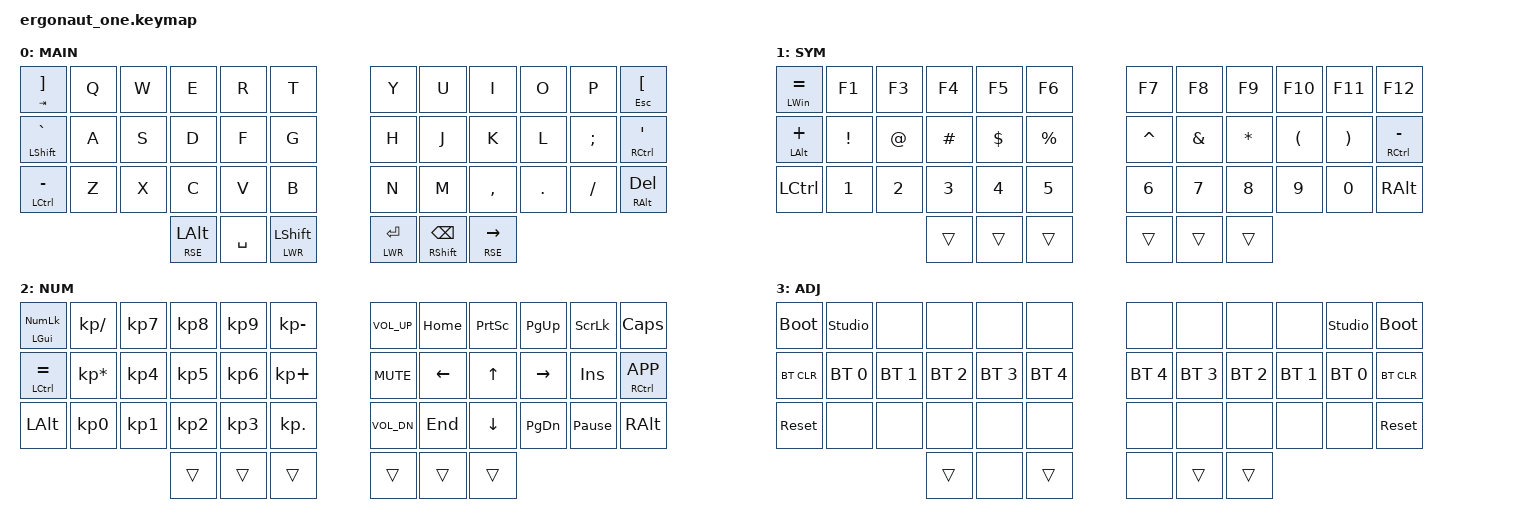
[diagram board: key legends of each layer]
#include <behaviors.dtsi>
#include <dt-bindings/zmk/bt.h>
#include <dt-bindings/zmk/keys.h>

#define DEF 0
#define LWR 1
#define RSE 2
#define ADJ 3

&lt { quick-tap-ms = <200>; };

&mt { quick-tap-ms = <200>; };

/ {
    conditional_layers {
        compatible = "zmk,conditional-layers";

        tri-layer {
            if-layers = <LWR RSE>;
            then-layer = <ADJ>;
        };
    };

    combos {
        compatible = "zmk,combos";

        hash {
            bindings = <&kp HASH>;
            key-positions = <36 37>;
        };
    };

    keymap {
        compatible = "zmk,keymap";

        default_layer {
            display-name = "MAIN";
            bindings = <
&mt TAB RBKT          &kp Q  &kp W  &kp E             &kp R      &kp T               &kp Y          &kp U                &kp I          &kp O    &kp P     &mt ESCAPE LEFT_BRACKET
&mt LEFT_SHIFT GRAVE  &kp A  &kp S  &kp D             &kp F      &kp G               &kp H          &kp J                &kp K          &kp L    &kp SEMI  &mt RCTRL SQT
&mt LCTRL MINUS       &kp Z  &kp X  &kp C             &kp V      &kp B               &kp N          &kp M                &kp COMMA      &kp DOT  &kp FSLH  &mt RALT DELETE
                                    &lt RSE LEFT_ALT  &kp SPACE  &lt LWR LEFT_SHIFT  &lt LWR ENTER  &mt RSHFT BACKSPACE  &lt RSE RIGHT
            >;
        };

        lower_layer {
            display-name = "SYM";
            bindings = <
&mt LEFT_WIN EQUAL  &kp F1    &kp F3  &kp F4    &kp F5    &kp F6     &kp F7     &kp F8    &kp F9    &kp F10   &kp F11   &kp F12
&mt LEFT_ALT PLUS   &kp EXCL  &kp AT  &kp HASH  &kp DLLR  &kp PRCNT  &kp CARET  &kp AMPS  &kp STAR  &kp LPAR  &kp RPAR  &mt RCTRL MINUS
&kp LEFT_CONTROL    &kp N1    &kp N2  &kp N3    &kp N4    &kp N5     &kp N6     &kp N7    &kp N8    &kp N9    &kp N0    &kp RALT
                                      &trans    &trans    &trans     &trans     &trans    &trans
            >;
        };

        raise_layer {
            display-name = "NUM";
            bindings = <
&mt LGUI KP_NUM  &kp KP_SLASH     &kp KP_N7  &kp KP_N8  &kp KP_N9  &kp KP_MINUS  &kp C_VOL_UP  &kp HOME  &kp PSCRN  &kp PG_UP  &kp SLCK         &kp CLCK
&mt LCTRL EQUAL  &kp KP_MULTIPLY  &kp KP_N4  &kp KP_N5  &kp KP_N6  &kp KP_PLUS   &kp C_MUTE    &kp LEFT  &kp UP     &kp RIGHT  &kp INS          &mt RCTRL K_APP
&kp LALT         &kp KP_N0        &kp KP_N1  &kp KP_N2  &kp KP_N3  &kp KP_DOT    &kp C_VOL_DN  &kp END   &kp DOWN   &kp PG_DN  &kp PAUSE_BREAK  &kp RALT
                                             &trans     &trans     &trans        &trans        &trans    &trans
            >;
        };

        adjust_layer {
            display-name = "ADJ";
            bindings = <
&bootloader  &studio_unlock  &none         &none         &none         &none         &none         &none         &none         &none         &studio_unlock  &bootloader
&bt BT_CLR   &bt BT_SEL 0    &bt BT_SEL 1  &bt BT_SEL 2  &bt BT_SEL 3  &bt BT_SEL 4  &bt BT_SEL 4  &bt BT_SEL 3  &bt BT_SEL 2  &bt BT_SEL 1  &bt BT_SEL 0    &bt BT_CLR
&sys_reset   &none           &none         &none         &none         &none         &none         &none         &none         &none         &none           &sys_reset
                                           &trans        &none         &trans        &none         &trans        &trans
            >;
        };
    };
};
